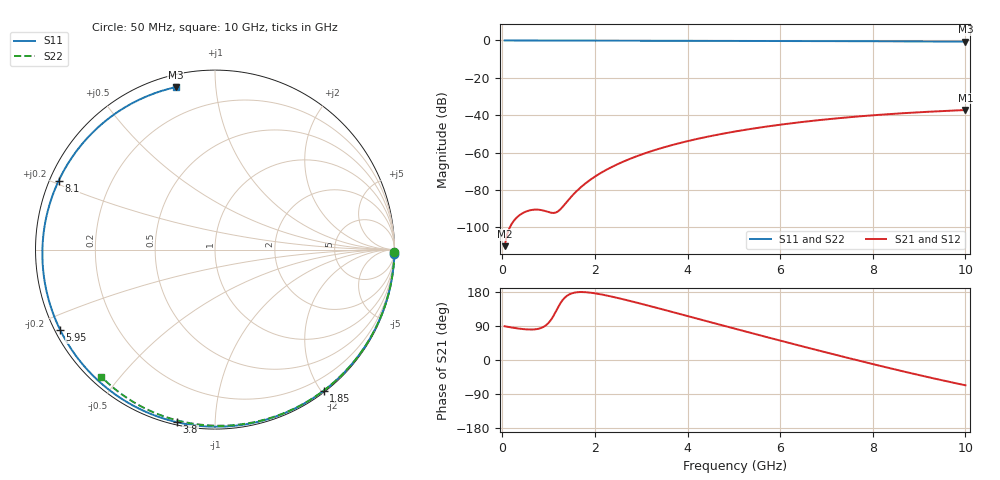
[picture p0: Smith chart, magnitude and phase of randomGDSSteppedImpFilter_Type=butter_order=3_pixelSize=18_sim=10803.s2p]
! freq	dB(S11)	phase(S11)	dB(S12)	phase(S12)
!  dB(S21)	phase(S21)	dB(S22)	phase(S22)
!S-par simulation data
#  GHz  S  DB  R 50
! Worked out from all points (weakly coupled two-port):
!   200 points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, 50 MHz to 10 GHz, reference 50 ohm
!   highest |S21| = -37.23 dB at 10 GHz (marker M1); lowest = -110.1 dB at 50 MHz (marker M2)
!   lowest |S11| = -0.6 dB at 10 GHz (marker M3), VSWR 27.92, Z = 2.9 + j39.3 ohm
!   |S11| at or under -10 dB: nowhere
!   |S22| runs from -0.4 to 0.0 dB; largest |S21 - S12| = 0
!   S11 on the Smith chart (normalised r, x): 50 MHz: 0, -78; 1.85 GHz: 0.02, -2.04; 3.8 GHz: 0.01, -0.80; 5.95 GHz: 0.02, -0.24; 8.1 GHz: 0.03, +0.21; 10 GHz: 0.06, +0.79
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0.05  -0.00 -1.5  -110.07 89.1  -110.07 89.1  -0.00 -0.8
0.4  -0.02 -11.6  -92.99 82.2  -92.99 82.2  -0.01 -6.1
0.8  -0.03 -23.0  -90.60 83.0  -90.60 83.0  -0.02 -12.1
1.6  -0.06 -45.5  -80.74 178.6  -80.74 178.6  -0.03 -24.0
1.65  -0.06 -46.9  -79.56 179.2  -79.56 179.2  -0.03 -24.8
1.75  -0.06 -49.6  -77.40 179.3  -77.40 179.3  -0.03 -26.3
1.85  -0.07 -52.3  -75.45 178.4  -75.45 178.4  -0.04 -27.7
2.15  -0.08 -60.4  -70.57 172.8  -70.57 172.8  -0.04 -32.1
2.5  -0.09 -69.6  -66.08 163.5  -66.08 163.5  -0.05 -37.2
2.9  -0.10 -80.0  -61.97 151.4  -61.97 151.4  -0.06 -42.9
3.4  -0.12 -92.5  -57.84 135.5  -57.84 135.5  -0.07 -50.0
3.8  -0.13 -102.3  -55.10 122.5  -55.10 122.5  -0.08 -55.6
4.4  -0.16 -116.7  -51.66 102.9  -51.66 102.9  -0.09 -63.7
5.05  -0.19 -131.8  -48.61 81.7  -48.61 81.7  -0.11 -72.4
5.95  -0.25 -152.5  -45.24 52.8  -45.24 52.8  -0.14 -83.9
6.7  -0.30 -169.9  -43.00 29.1  -43.00 29.1  -0.18 -93.3
7.4  -0.36 173.5  -41.27 7.4  -41.27 7.4  -0.22 -101.7
8.1  -0.43 156.2  -39.85 -13.7  -39.85 -13.7  -0.27 -110.0
8.35  -0.45 149.8  -39.42 -21.1  -39.42 -21.1  -0.29 -112.9
9.15  -0.53 128.3  -38.22 -44.0  -38.22 -44.0  -0.36 -122.1
9.6  -0.58 115.5  -37.67 -56.2  -37.67 -56.2  -0.40 -127.2
10  -0.62 103.6  -37.23 -66.7  -37.23 -66.7  -0.44 -131.8
